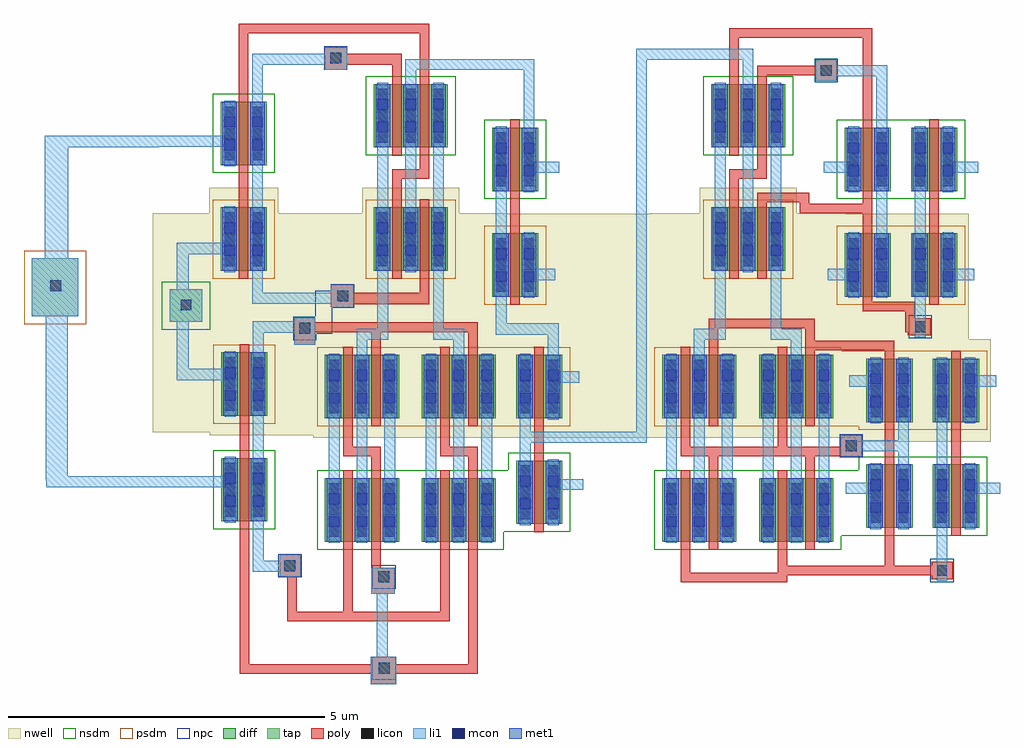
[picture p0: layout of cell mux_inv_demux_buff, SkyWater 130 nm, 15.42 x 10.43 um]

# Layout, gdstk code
from math import pi, radians
import gdstk
lib = gdstk.Library(unit=1e-6, precision=1e-09)
def R(c, l, rs):  # rectangles x0, y0, x1, y1
    for r in rs: c.add(gdstk.rectangle(r[:2], r[2:], *l))
def A(c, l, x, y, w, h, nx, ny, dx, dy):  # array of equal rectangles
    R(c, l, [(x+i*dx, y+j*dy, x+i*dx+w, y+j*dy+h) for i in range(nx) for j in range(ny)])
nwell = (64, 20)
diff = (65, 20)
tap = (65, 44)
poly = (66, 20)
licon = (66, 44)
li1 = (67, 20)
mcon = (67, 44)
met1 = (68, 20)
nsdm = (93, 44)
psdm = (94, 20)
npc = (95, 20)

sky130_fd_pr__pfet_01v8_ = lib.new_cell('sky130_fd_pr__pfet_01v8_5U3WHE')
R(sky130_fd_pr__pfet_01v8_, nwell, [(-0.545,-0.81,0.545,0.81)])
R(sky130_fd_pr__pfet_01v8_, diff, [(-0.365,-0.5,0.365,0.5)])
R(sky130_fd_pr__pfet_01v8_, poly, [(-0.075,-0.63,0.075,0.63)])
A(sky130_fd_pr__pfet_01v8_, licon, -0.305, -0.425, 0.17, 0.17, 1, 3, 0, 0.34)
A(sky130_fd_pr__pfet_01v8_, licon, 0.135, -0.425, 0.17, 0.17, 1, 3, 0, 0.34)
R(sky130_fd_pr__pfet_01v8_, li1, [(-0.305,-0.52,-0.135,0.52), (0.135,-0.52,0.305,0.52)])
R(sky130_fd_pr__pfet_01v8_, mcon, [(-0.305,-0.265,-0.135,-0.095), (0.135,-0.265,0.305,-0.095), (-0.305,0.095,-0.135,0.265), (0.135,0.095,0.305,0.265)])
R(sky130_fd_pr__pfet_01v8_, met1, [(-0.335,-0.5,-0.105,0.5), (0.105,-0.5,0.335,0.5)])
R(sky130_fd_pr__pfet_01v8_, psdm, [(-0.49,-0.625,0.49,0.625)])

sky130_fd_pr__nfet_01v8_ = lib.new_cell('sky130_fd_pr__nfet_01v8_WYB6A9')
R(sky130_fd_pr__nfet_01v8_, diff, [(-0.365,-0.5,0.365,0.5)])
R(sky130_fd_pr__nfet_01v8_, poly, [(-0.075,-0.63,0.075,0.63)])
A(sky130_fd_pr__nfet_01v8_, licon, -0.305, -0.425, 0.17, 0.17, 1, 3, 0, 0.34)
A(sky130_fd_pr__nfet_01v8_, licon, 0.135, -0.425, 0.17, 0.17, 1, 3, 0, 0.34)
R(sky130_fd_pr__nfet_01v8_, li1, [(-0.305,-0.52,-0.135,0.52), (0.135,-0.52,0.305,0.52)])
R(sky130_fd_pr__nfet_01v8_, mcon, [(-0.305,-0.265,-0.135,-0.095), (0.135,-0.265,0.305,-0.095), (-0.305,0.095,-0.135,0.265), (0.135,0.095,0.305,0.265)])
R(sky130_fd_pr__nfet_01v8_, met1, [(-0.335,-0.5,-0.105,0.5), (0.105,-0.5,0.335,0.5)])
R(sky130_fd_pr__nfet_01v8_, nsdm, [(-0.49,-0.625,0.49,0.625)])

inverter = lib.new_cell('inverter')
R(inverter, nwell, [(-0.24,5.21,-0.17,5.26), (-0.24,5.26,-0.16,5.93), (-0.24,5.93,-0.17,6.03), (-0.24,6.03,-0.23,6.07)])
R(inverter, poly, [(0.23,4.48,0.38,4.89)])
R(inverter, li1, [(-0.39,3.89,0.1,4.01), (-0.39,4.01,0.02,4.06), (0.44,4.37,0.61,5), (-0.33,5.58,0.08,5.76)])
inverter.add(gdstk.Reference(sky130_fd_pr__pfet_01v8_, (0.305,5.52)))
inverter.add(gdstk.Reference(sky130_fd_pr__nfet_01v8_, (0.305,3.85)))

mux_unitcell = lib.new_cell('mux_unitcell')
R(mux_unitcell, nwell, [(-3.64,2.71,-3.47,2.85)])
R(mux_unitcell, li1, [(-3.4,2.08,-3.23,3), (-2.96,2.08,-2.79,3)])
mux_unitcell.add(gdstk.Reference(sky130_fd_pr__pfet_01v8_, (-3.095,3.52)))
mux_unitcell.add(gdstk.Reference(sky130_fd_pr__nfet_01v8_, (-3.095,1.57)))

mux1_2 = lib.new_cell('mux1_2')
R(mux1_2, poly, [(0.91,1.75,1.06,1.97), (0.47,1.97,1.06,2.12), (0.47,2.12,0.62,2.47)])
mux1_2.add(gdstk.Reference(mux_unitcell, (-2.11,-0.45), rotation=pi, x_reflection=True))
mux1_2.add(gdstk.Reference(mux_unitcell, (3.64,-0.45)))

mux1_4 = lib.new_cell('mux1_4')
R(mux1_4, nwell, [(0.68,3.3,1.28,3.38), (1.99,3.3,2.38,3.32), (1.89,3.32,2.38,3.38), (2.4,3.37,3.06,3.38), (0,3.38,3.06,5.32)])
R(mux1_4, li1, [(0.68,3.1,0.85,3.32), (2.21,3.1,2.38,3.32), (0.68,3.32,1.18,3.49), (1.89,3.32,2.38,3.49), (1.01,3.49,1.18,4.415), (1.89,3.49,2.06,4.455)])
R(mux1_4, nsdm, [(1.475,0.005,1.585,1.255)])
R(mux1_4, psdm, [(1.475,1.955,1.585,3.205)])
mux1_4.add(gdstk.Reference(mux1_2, (0.77,7.98), x_reflection=True))
mux1_4.add(gdstk.Reference(mux1_2, (1.53,-0.49)))
mux1_4.add(gdstk.Reference(mux1_2, (0,-0.49)))

mux_inv_demux_buff = lib.new_cell('mux_inv_demux_buff')
R(mux_inv_demux_buff, nwell, [(4.11,1.77,5.335,3.39), (8.39,1.77,8.555,3.33), (-0.005,1.775,0.06,1.8), (-0.005,1.8,1.28,1.81), (-0.55,1.81,1.28,1.855), (-2.54,1.855,1.28,2.47), (-2.54,2.47,0.54,3.29), (3.7,3.1,3.87,3.285), (2.44,3.12,2.59,3.42), (9.025,3.15,9.175,3.195), (7.77,3.21,7.92,3.36), (-2.54,3.29,1.26,3.42), (8.39,3.33,10.35,3.695), (3.06,3.385,3.73,3.39), (3.06,3.39,5.335,3.69), (-2.54,3.42,2.59,3.495), (-2.54,3.495,2.665,3.535), (-2.54,3.535,2.59,3.595), (-2.54,3.595,2.555,3.645), (-2.54,3.645,2.54,4.64), (3.73,3.69,5.335,5.31), (8.39,3.695,8.555,3.705), (8.675,3.695,8.83,3.77), (9.35,3.695,9.435,3.77), (8.68,3.77,8.83,3.84), (7.155,3.84,7.16,4.3), (-2.54,4.64,3.06,4.99), (-2.54,4.99,-1.65,5.32), (-0.56,4.99,0.77,5.08), (-0.69,5.08,0.79,5.32)])
R(mux_inv_demux_buff, tap, [(-2.275,3.605,-1.755,4.115), (-4.45,3.69,-3.72,4.605)])
R(mux_inv_demux_buff, poly, [(0.9,-2.12,1.31,-1.955), (-1.17,-1.955,2.59,-1.805), (-1.17,-1.805,-1.02,0.38), (0.9,-1.805,1.31,-1.685), (2.44,-1.805,2.59,0.06), (-0.415,-1.13,2.15,-0.98), (-0.415,-0.98,-0.265,-0.425), (0.47,-0.98,0.62,0), (2,-0.98,2.15,0.13), (0.91,-0.69,1.28,-0.285), (5.8,-0.515,7.48,-0.4), (9.765,-0.46,10.095,-0.4), (-0.535,-0.425,-0.2,-0.08), (5.8,-0.4,10.095,-0.365), (5.8,-0.365,5.95,0.01), (7.33,-0.365,10.095,-0.25), (0.91,-0.285,1.06,0.04), (7.33,-0.25,7.48,0.005), (9.025,-0.25,9.175,0.22), (9.765,-0.25,10.095,-0.19), (6.39,1.48,7.33,1.63), (7.92,1.48,8.66,1.63), (8.33,1.63,8.66,1.81), (9.025,3.075,9.175,3.155), (2.44,3.12,2.59,3.44), (7.77,3.155,9.175,3.305), (6.24,3.185,6.39,3.5), (0.91,3.2,1.06,3.44), (-0.305,3.245,0.025,3.44), (7.77,3.305,7.92,3.5), (9.385,3.39,9.75,3.44), (-0.305,3.44,2.59,3.595), (9.35,3.44,9.75,3.66), (6.24,3.5,7.92,3.65), (-0.305,3.595,0.025,3.665), (9.35,3.66,9.5,3.77), (8.68,3.77,9.5,3.92), (0.275,3.83,0.635,3.88), (0.275,3.88,1.83,4.065), (0.275,4.065,0.635,4.19), (1.68,4.065,1.83,4.325), (7.68,5.32,8.83,5.47), (7.68,5.47,7.83,5.49), (7.01,5.49,7.83,5.64), (8.68,6.8,8.83,8.09), (-1.18,7.165,-1.03,8.16), (7.935,7.41,8.265,7.5), (1.24,7.415,1.39,7.665), (1.68,7.46,1.83,8.16), (6.57,7.485,6.72,8.09), (7.01,7.49,7.16,7.5), (7.01,7.5,8.265,7.65), (0.18,7.585,0.53,7.665), (7.935,7.65,8.265,7.74), (0.18,7.665,1.39,7.835), (0.18,7.835,0.53,7.945), (6.57,8.09,8.83,8.24), (-1.18,8.16,1.83,8.31)])
R(mux_inv_demux_buff, licon, [(1.03,-1.955,1.2,-1.785), (1.025,-0.51,1.195,-0.34), (9.845,-0.41,10.015,-0.24), (-0.46,-0.335,-0.29,-0.165), (8.41,1.56,8.58,1.73), (-0.225,3.415,-0.055,3.585), (9.5,3.44,9.67,3.61), (-2.1,3.785,-1.93,3.955), (0.375,3.925,0.545,4.095), (-4.16,4.09,-3.99,4.26), (8.015,7.49,8.185,7.66), (0.265,7.685,0.435,7.855)])
R(mux_inv_demux_buff, li1, [(0.9,-2.12,1.31,-1.685), (1,-1.685,1.175,-0.69), (0.91,-0.69,1.28,-0.285), (9.845,-0.49,10.015,0.33), (-0.535,-0.425,-0.2,-0.345), (-0.96,-0.345,-0.2,-0.17), (-0.96,-0.17,-0.785,0.47), (-0.535,-0.17,-0.2,-0.08), (-4.225,0.99,-1.54,1.11), (-4.23,1.11,-1.54,1.16), (-4.23,1.16,-3.88,3.69), (8.33,1.48,8.66,1.56), (8.33,1.56,9.405,1.73), (3.26,1.695,5.265,1.865), (8.33,1.73,8.66,1.81), (5.095,1.865,5.265,7.745), (-2.16,2.68,-1.395,2.865), (-2.16,2.865,-1.975,3.605), (-0.96,3.06,-0.79,3.43), (3.7,3.1,3.87,3.4), (-0.305,3.245,0.025,3.43), (9.5,3.36,9.67,5.445), (2.875,3.4,3.875,3.58), (-0.96,3.43,0.025,3.61), (2.875,3.58,3.055,4.015), (-2.275,3.605,-1.755,4.115), (-0.305,3.61,0.025,3.665), (-4.45,3.69,-3.72,4.605), (0.275,3.83,0.635,3.885), (-0.97,3.885,0.635,4.065), (-0.97,4.065,-0.8,4.4), (0.275,4.065,0.635,4.19), (-2.165,4.115,-1.97,4.67), (-4.245,4.605,-3.875,6.36), (-2.165,4.67,-1.64,4.85), (1.45,6.145,1.62,7.585), (-4.245,6.36,-2.435,6.37), (-4.245,6.37,-1.61,6.54), (3.32,6.685,3.49,7.585), (8.89,6.69,9.06,7.485), (-0.97,7.085,-0.8,7.665), (6.78,7.375,6.95,7.745), (7.935,7.41,8.265,7.485), (7.935,7.485,9.06,7.655), (0.18,7.585,0.53,7.665), (1.45,7.585,3.49,7.755), (7.935,7.655,8.265,7.74), (-0.97,7.665,0.53,7.835), (5.095,7.745,6.95,7.915), (0.18,7.835,0.53,7.945)])
R(mux_inv_demux_buff, nsdm, [(8.335,0.225,8.61,1.255), (9.59,0.225,9.66,1.475), (3.005,0.285,3.075,1.255), (-2.4,3.48,-1.63,4.24), (9.245,5.545,9.315,6.795)])
R(mux_inv_demux_buff, psdm, [(9.59,1.895,9.66,3.145), (3.005,1.955,3.075,3.205), (8.335,1.955,8.61,3.145), (-4.575,3.565,-3.595,4.73), (9.245,3.875,9.315,5.125)])
R(mux_inv_demux_buff, npc, [(0.93,-2.055,1.3,-1.685), (0.925,-0.61,1.295,-0.24), (9.745,-0.51,10.115,-0.14), (-0.56,-0.435,-0.19,-0.065), (8.31,1.46,8.68,1.83), (-0.325,3.315,0.045,3.415), (9.4,3.34,9.77,3.71), (-0.325,3.415,0.295,3.685), (0.025,3.685,0.295,3.825), (0.025,3.825,0.645,4.095), (0.275,4.095,0.645,4.195), (7.915,7.39,8.285,7.76), (0.165,7.585,0.535,7.955)])
mux_inv_demux_buff.add(gdstk.Reference(inverter, (-1.4,-2.9)))
mux_inv_demux_buff.add(gdstk.Reference(inverter, (-1.41,10.43), x_reflection=True))
mux_inv_demux_buff.add(gdstk.Reference(mux1_4, (0,0)))
mux_inv_demux_buff.add(gdstk.Reference(inverter, (3.49,10.02), rotation=pi))
mux_inv_demux_buff.add(gdstk.Reference(inverter, (3.87,-2.94), rotation=pi, x_reflection=True))
mux_inv_demux_buff.add(gdstk.Reference(mux1_4, (5.33,0)))
mux_inv_demux_buff.add(gdstk.Reference(inverter, (10.11,10.02), rotation=pi))
mux_inv_demux_buff.add(gdstk.Reference(inverter, (8.45,10.02), x_reflection=True))
mux_inv_demux_buff.add(gdstk.Reference(inverter, (8.795,-3)))
mux_inv_demux_buff.add(gdstk.Reference(inverter, (10.455,-3), rotation=pi, x_reflection=True))

lib.write_gds('mux_inv_demux_buff.gds')
